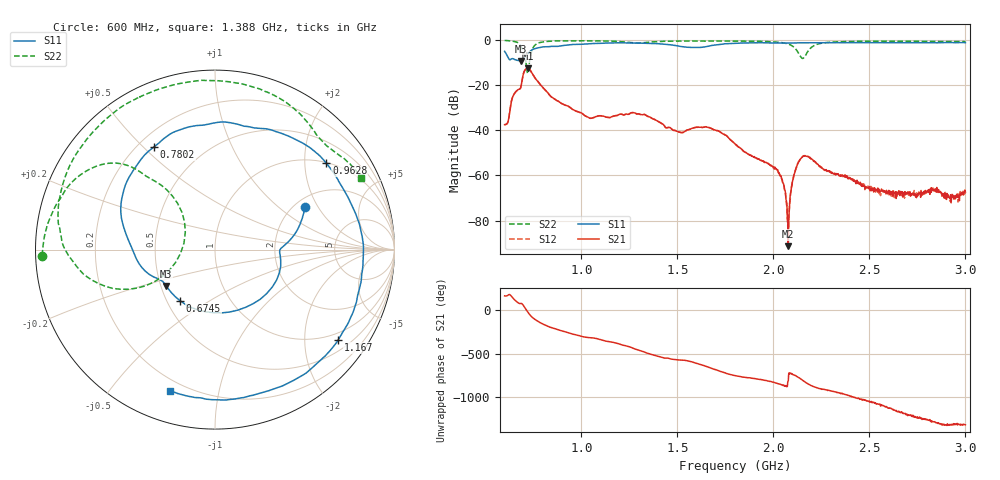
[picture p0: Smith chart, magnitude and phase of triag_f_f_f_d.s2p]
#  HZ  S  RI  R  50.00
! Rohde & Schwarz ZVB8 2Ports - Version 2.81 - 1145.1010k08 SN: 100113
! Date: 2016-05-03 01:38:35
! Measurements: S11 S21 S12 S22
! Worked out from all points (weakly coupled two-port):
!   1000 points, 600 MHz to 3 GHz, reference 50 ohm
!   highest |S21| = -12.57 dB at 720.1 MHz (marker M1); lowest = -91.4 dB at 2.077 GHz (marker M2)
!   lowest |S11| = -9.4 dB at 684.1 MHz (marker M3), VSWR 2.03, Z = 26.7 - j12.2 ohm
!   |S11| at or under -10 dB: nowhere
!   |S22| runs from -15.1 to -0.3 dB; largest |S21 - S12| = 0.0047
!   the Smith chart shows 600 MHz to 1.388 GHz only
!   S11 on the Smith chart (normalised r, x): 600 MHz: 2.27, +1.56; 674.5 MHz: 0.58, -0.38; 780.2 MHz: 0.26, +0.54; 962.8 MHz: 1.02, +2.57; 1.167 GHz: 0.78, -2.86; 1.388 GHz: 0.15, -0.72
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6e8  0.5014 0.2372  -0.0129 0.00275  -0.0129 0.00273  -0.9621 -0.0332
6.432432e8  0.3194 -0.2085  -0.0445 0.0336  -0.0445 0.0333  -0.894 0.2325
6.744745e8  -0.1936 -0.2857  0.00932 0.0798  0.00931 0.0799  -0.6964 0.4493
6.840841e8  -0.2719 -0.2023  0.0148 0.0869  0.014 0.0867  -0.554 0.4827
7.201201e8  -0.484 0.0563  0.2262 -0.0649  0.2258 -0.0648  -0.1728 0.0368
7.417417e8  -0.5192 0.2858  0.0503 -0.1775  0.05 -0.1775  -0.5266 -0.2209
7.801802e8  -0.3385 0.5727  -0.0761 -0.0787  -0.0753 -0.0786  -0.8559 0.0654
9.627628e8  0.621 0.4808  0.00259 0.0275  0.00251 0.0274  -0.4963 0.8107
1.001201e9  0.7287 0.3141  0.0109 0.0212  0.0108 0.0212  -0.3573 0.8773
1.166967e9  0.6869 -0.5037  0.0203 -0.0025  0.0202 -0.00236  0.2813 0.8805
1.387988e9  -0.2494 -0.7851  -0.0156 -0.00571  -0.0156 -0.00573  0.8149 0.401
1.4e9  -0.2967 -0.7598  -0.0152 -0.00355  -0.0151 -0.00347  0.8403 0.3593
1.575375e9  -0.5953 -0.3156  -0.00696 0.00839  -0.00704 0.00835  0.8829 -0.316
1.801201e9  -0.7853 0.2852  0.00426 -0.00243  0.0043 -0.00244  0.307 -0.8764
2.017417e9  -0.1856 0.8217  -0.000575 -0.0012  -0.000558 -0.0012  -0.4303 -0.7737
2.077477e9  0.0271 0.8409  3.17e-07 -2.71e-05  1.63e-05 -2.77e-05  -0.5769 -0.5542
2.13033e9  0.2352 0.8211  0.00127 -0.00148  0.00127 -0.0015  -0.4349 -0.2586
2.2e9  0.4893 0.6999  -0.0019 -0.00128  -0.00196 -0.00126  -0.2819 -0.6275
2.399399e9  0.8621 -0.0216  -0.000116 0.000859  -8.87e-05 0.000876  -0.8574 -0.3147
2.601201e9  0.4608 -0.7284  0.000358 -0.000294  0.00027 -0.000259  -0.9064 0.1782
2.786186e9  -0.2243 -0.83  -0.00037 -0.000108  -0.00039 -0.000124  -0.7199 0.5684
3e9  -0.7806 -0.367  -0.000249 0.000347  -0.000229 0.000343  -0.3159 0.8512
